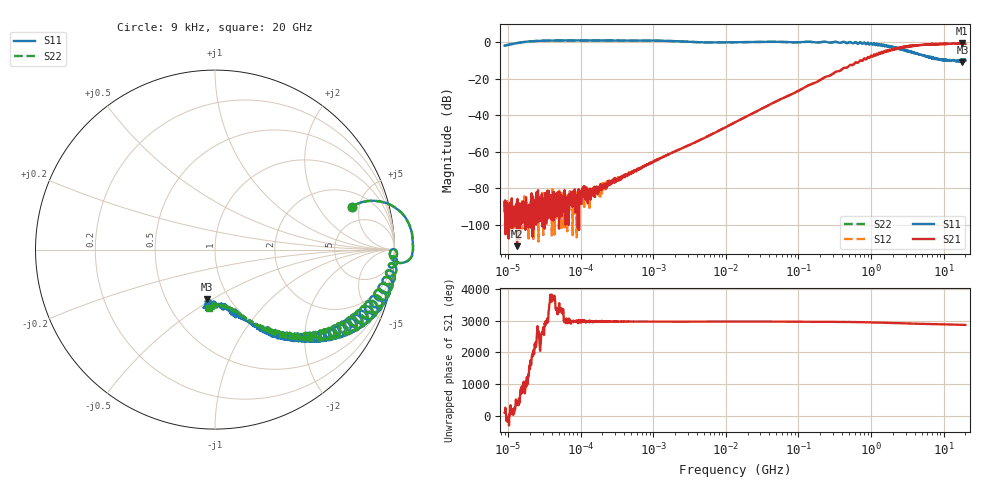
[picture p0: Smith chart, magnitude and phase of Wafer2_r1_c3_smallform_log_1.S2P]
!  2-Port S-parameters saved by WinCal
! VAR MeasName=S-Parameters (CALIBRATED_DATA) read from VNA (P5004A)
! VAR MeasDate=26/04/2024 18:49:24
! VAR NAME=Wafer2_r1_c3_smallform_log
! VAR FILENAME=Wafer2_r1_c3_smallform_log_1.S2P
! VAR DATE=26/04/2024 18:49:24
! VAR PHYS_PORTS=1,2
! VAR ObjTypeName=DATASET
! VAR IndexType=Frequency
# Hz S MA R 50
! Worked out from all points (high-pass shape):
!   2000 points, 9 kHz to 20 GHz, reference 50 ohm
!   highest |S21| = -0.66 dB at 18.05 GHz (marker M1); lowest = -111.6 dB at 13.36 kHz (marker M2)
!   |S21| within 3 dB of the highest: 2.253 GHz to 2.327 GHz (74.16 MHz wide, 3.24 % of centre); 2.335 GHz to end of sweep (the widest 2 of 4)
!   lowest |S11| = -11.0 dB at 18.19 GHz (marker M3), VSWR 1.78, Z = 39.5 - j23.8 ohm
!   |S11| at or under -10 dB: 12.09 GHz to 13.02 GHz (929.8 MHz wide, 7.41 % of centre); 14.18 GHz to 17.03 GHz (2.842 GHz wide, 18.2 % of centre); 19.18 GHz to 19.76 GHz (578.3 MHz wide, 2.97 % of centre) (the widest 3 of 15)
!   |S22| runs from -10.6 to 0.9 dB; largest |S21 - S12| = 0.036
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9000  0.7977 17.3  4.208e-05 108.6  2.988e-05 89.8  0.7978 17.3
13356.46  0.9405 16.8  2.617e-06 -2.2  4.409e-05 126.1  0.9406 16.7
28778.26  1.083 8.5  1.686e-05 46.9  3.115e-05 139.3  1.084 8.4
103439.5  1.102 2.1  8.918e-05 88.7  6.208e-05 88.6  1.102 2.1
176384.3  1.103 1.0  0.0001005 82.2  7.54e-05 97.8  1.103 1.0
207161.7  1.103 0.8  0.0001022 86.4  9.532e-05 79.0  1.103 0.8
1180198  1.09 -2.6  0.0006355 85.8  0.0006297 86.6  1.09 -2.6
4530556  0.9807 -2.6  0.002132 86.6  0.002151 86.6  0.9807 -2.6
1.346554e7  0.986 0.1  0.006347 89.1  0.006423 88.8  0.986 0.1
1.105652e8  0.9951 -2.2  0.05124 86.5  0.05162 86.0  0.9948 -2.2
1.536358e8  1 -5.7  0.07189 82.6  0.07114 82.8  1.001 -5.6
2.966476e8  0.9819 -6.8  0.1335 81.2  0.1347 81.1  0.9818 -6.8
7.506948e8  0.8949 -21.3  0.3038 66.0  0.3032 66.2  0.8966 -20.9
1.043128e9  0.8507 -28.4  0.3964 58.5  0.3967 58.6  0.8525 -28.0
1.752917e9  0.738 -38.1  0.5638 47.6  0.5668 47.5  0.7377 -37.6
2.860783e9  0.6191 -50.8  0.7366 33.4  0.7411 33.1  0.6173 -50.1
5.364551e9  0.4263 -67.3  0.8432 15.1  0.8414 14.9  0.4256 -65.1
9.488158e9  0.3303 -81.2  0.8895 1.2  0.8806 1.0  0.3302 -76.5
1.347662e10  0.323 -88.2  0.9221 -6.2  0.919 -7.0  0.3094 -85.5
1.805428e10  0.3389 -98.5  0.9273 -14.9  0.9026 -16.3  0.2964 -91.7
1.818676e10  0.2811 -98.9  0.8836 -16.5  0.8725 -14.3  0.3246 -90.7
2e10  0.3037 -97.9  0.8855 -17.4  0.8997 -16.6  0.3274 -96.3
